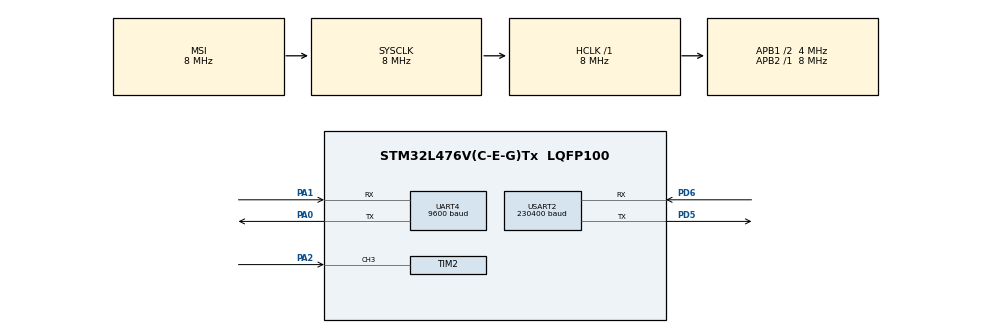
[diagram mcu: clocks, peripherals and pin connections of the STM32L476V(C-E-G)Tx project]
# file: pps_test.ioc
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Dma.Request0=UART4_RX
Dma.UART4_RX.0.Direction=DMA_PERIPH_TO_MEMORY
Dma.UART4_RX.0.Instance=DMA2_Channel5
Dma.UART4_RX.0.MemDataAlignment=DMA_MDATAALIGN_BYTE
Dma.UART4_RX.0.MemInc=DMA_MINC_ENABLE
Dma.UART4_RX.0.Mode=DMA_CIRCULAR
Dma.UART4_RX.0.PeriphDataAlignment=DMA_PDATAALIGN_BYTE
Dma.UART4_RX.0.PeriphInc=DMA_PINC_DISABLE
Dma.UART4_RX.0.Priority=DMA_PRIORITY_MEDIUM
Mcu.Family=STM32L4
Mcu.Name=STM32L476V(C-E-G)Tx
Mcu.Package=LQFP100
NVIC.DMA2_Channel5_IRQn=true\:0\:0\:false\:false\:true\:false\:true
NVIC.PriorityGroup=NVIC_PRIORITYGROUP_4
NVIC.TIM2_IRQn=true\:0\:0\:false\:false\:true\:true\:true
NVIC.UART4_IRQn=true\:0\:0\:false\:false\:true\:true\:true
PA0.Mode=Asynchronous
PA0.Signal=UART4_TX
PA1.Mode=Asynchronous
PA1.Signal=UART4_RX
PA2.Signal=S_TIM2_CH3
PD5.Mode=Asynchronous
PD5.Signal=USART2_TX
PD6.Mode=Asynchronous
PD6.Signal=USART2_RX
ProjectManager.HeapSize=0x200
ProjectManager.StackSize=0x400
ProjectManager.TargetToolchain=STM32CubeIDE
RCC.ADCFreq_Value=32000000
RCC.AHBFreq_Value=8000000
RCC.APB1CLKDivider=RCC_HCLK_DIV2
RCC.APB1Freq_Value=4000000
RCC.APB1TimFreq_Value=8000000
RCC.APB2Freq_Value=8000000
RCC.APB2TimFreq_Value=8000000
RCC.CortexFreq_Value=8000000
RCC.HCLKFreq_Value=8000000
RCC.HSE_VALUE=8000000
RCC.HSI_VALUE=16000000
RCC.LSE_VALUE=32768
RCC.MSIClockRange=RCC_MSIRANGE_7
RCC.MSI_VALUE=8000000
RCC.SYSCLKFreq_VALUE=8000000
RCC.USBFreq_Value=32000000
RCC.VCOOutputFreq_Value=64000000
SH.S_TIM2_CH3.0=TIM2_CH3,Input_Capture3_from_TI3
TIM2.Channel-Input_Capture3_from_TI3=TIM_CHANNEL_3
UART4.BaudRate=9600
USART2.BaudRate=230400
USART2.VirtualMode-Asynchronous=VM_ASYNC
board=custom

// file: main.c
/* USER CODE BEGIN Header */
/**
  ******************************************************************************
  * @file           : main.c
  * @brief          : Main program body
  ******************************************************************************
  * @attention
  *
  * <h2><center>&copy; Copyright (c) 2022 STMicroelectronics.
  * All rights reserved.</center></h2>
  *
  * This software component is licensed by ST under BSD 3-Clause license,
  * the "License"; You may not use this file except in compliance with the
  * License. You may obtain a copy of the License at:
  *                        opensource.org/licenses/BSD-3-Clause
  *
  ******************************************************************************
  */
/* USER CODE END Header */
#include "main.h"

/* USER CODE BEGIN Includes */
#include "string.h"
#include "stdlib.h"
#include "stdio.h"
/* USER CODE END Includes */

/* USER CODE BEGIN PTD */
int timI = 0;
int timeCounter = 0;

int nmea0183_checksum(char *msg) {

	int checksum = 0;
	int j = 0;

	// the first $ sign and the last two bytes of original CRC + the * sign
	for (j = 1; j < strlen(msg) - 4; j++) {
	checksum = checksum ^ (unsigned) msg[j];
	}

	return checksum;
}
/* USER CODE END PTD */

TIM_HandleTypeDef htim2;

UART_HandleTypeDef huart4;
UART_HandleTypeDef huart2;
DMA_HandleTypeDef hdma_uart4_rx;

void SystemClock_Config(void);
static void MX_GPIO_Init(void);
static void MX_DMA_Init(void);
static void MX_USART2_UART_Init(void);
static void MX_UART4_Init(void);
static void MX_TIM2_Init(void);

/* USER CODE BEGIN 0 */
uint32_t timerVal;
void HAL_TIM_IC_CaptureCallback(TIM_HandleTypeDef *htim) {
	timerVal = HAL_TIM_ReadCapturedValue(&htim2, TIM_CHANNEL_3);
	HAL_UART_Transmit(&huart2, (uint8_t*)&timerVal, 4, 70);
	__HAL_TIM_SET_COUNTER(htim,0);
}

/* USER CODE END 0 */

int main(void)
{

  /* MCU Configuration--------------------------------------------------------*/

  /* Reset of all peripherals, Initializes the Flash interface and the Systick. */
  HAL_Init();

  /* Configure the system clock */
  SystemClock_Config();

  /* Initialize all configured peripherals */
  MX_GPIO_Init();
  MX_DMA_Init();
  MX_USART2_UART_Init();
  MX_UART4_Init();
  MX_TIM2_Init();
  /* USER CODE BEGIN 2 */

  HAL_TIM_IC_Start_IT(&htim2, TIM_CHANNEL_3);

  uint8_t buff[255];
  	char buffStr[255];
  	char nmeaSnt[80];

  	char lat[12];
  	char lon[13];
  	char tim[6];
  	char mess[37];

  	HAL_UART_Receive_DMA(&huart4, buff, 255);

  /* USER CODE END 2 */

  /* Infinite loop */
  while (1)
  {

    /* USER CODE BEGIN 3 */

	  char *string;
		memset(buffStr, 0, 255);
		sprintf(buffStr, "%s", buff);
		string = strdup(buffStr);
		//data = strstr(string, "$GNGLL");
		//HAL_UART_Transmit(&huart2, (uint8_t*)data, 50, 70);

		char* token;
		while ((token = strsep(&string, "\n")) != NULL) {
			memset(nmeaSnt, 0, 80);
			sprintf(nmeaSnt, "%s\n\r", token);
			if ((strstr(nmeaSnt, "$GPGLL") != 0) && strlen(nmeaSnt) > 48 && strlen(nmeaSnt) < 60) {
				//Raw Data
				//HAL_UART_Transmit(&huart2, (uint8_t*)nmeaSnt, strlen(nmeaSnt), 70);
				for (int i = 0; i < 12; i++) {
					lat[i] = nmeaSnt[i+7];
					mess[i] = nmeaSnt[i+7];
				}
				for (int i = 0; i < 13; i++) {
					lon[i] = nmeaSnt[i+20];
					mess[i+14] = nmeaSnt[i+20];
				}
				for (int i = 0; i < 6; i++) {
					tim[i] = nmeaSnt[i+34];
					mess[i+29] = nmeaSnt[i+34];
				}
				if (time_set == 0) {
					sscanf(tim, "%d", &timI);
					set_time();
					time_set = 1;
				}
				mess[12] = '\n';
				mess[13] = '\r';
				mess[27] = '\n';
				mess[28] = '\r';
				mess[35] = '\n';
				mess[36] = '\r';
				HAL_UART_Transmit(&huart2, (uint8_t*)mess, 37, 70);
			}
		}
		HAL_Delay(200);
  }
  /* USER CODE END 3 */
}

void SystemClock_Config(void)
{
  RCC_OscInitTypeDef RCC_OscInitStruct = {0};
  RCC_ClkInitTypeDef RCC_ClkInitStruct = {0};
  RCC_PeriphCLKInitTypeDef PeriphClkInit = {0};

  /** Initializes the RCC Oscillators according to the specified parameters
  * in the RCC_OscInitTypeDef structure.
  */
  RCC_OscInitStruct.OscillatorType = RCC_OSCILLATORTYPE_MSI;
  RCC_OscInitStruct.MSIState = RCC_MSI_ON;
  RCC_OscInitStruct.MSICalibrationValue = 0;
  RCC_OscInitStruct.MSIClockRange = RCC_MSIRANGE_7;
  RCC_OscInitStruct.PLL.PLLState = RCC_PLL_NONE;
  if (HAL_RCC_OscConfig(&RCC_OscInitStruct) != HAL_OK)
  {
    Error_Handler();
  }
  /** Initializes the CPU, AHB and APB buses clocks
  */
  RCC_ClkInitStruct.ClockType = RCC_CLOCKTYPE_HCLK|RCC_CLOCKTYPE_SYSCLK
                              |RCC_CLOCKTYPE_PCLK1|RCC_CLOCKTYPE_PCLK2;
  RCC_ClkInitStruct.SYSCLKSource = RCC_SYSCLKSOURCE_MSI;
  RCC_ClkInitStruct.AHBCLKDivider = RCC_SYSCLK_DIV1;
  RCC_ClkInitStruct.APB1CLKDivider = RCC_HCLK_DIV2;
  RCC_ClkInitStruct.APB2CLKDivider = RCC_HCLK_DIV1;

  if (HAL_RCC_ClockConfig(&RCC_ClkInitStruct, FLASH_LATENCY_0) != HAL_OK)
  {
    Error_Handler();
  }
  PeriphClkInit.PeriphClockSelection = RCC_PERIPHCLK_USART2|RCC_PERIPHCLK_UART4;
  PeriphClkInit.Usart2ClockSelection = RCC_USART2CLKSOURCE_PCLK1;
  PeriphClkInit.Uart4ClockSelection = RCC_UART4CLKSOURCE_PCLK1;
  if (HAL_RCCEx_PeriphCLKConfig(&PeriphClkInit) != HAL_OK)
  {
    Error_Handler();
  }
  /** Configure the main internal regulator output voltage
  */
  if (HAL_PWREx_ControlVoltageScaling(PWR_REGULATOR_VOLTAGE_SCALE1) != HAL_OK)
  {
    Error_Handler();
  }
}

static void MX_TIM2_Init(void)
{

  TIM_MasterConfigTypeDef sMasterConfig = {0};
  TIM_IC_InitTypeDef sConfigIC = {0};

  htim2.Instance = TIM2;
  htim2.Init.Prescaler = 0;
  htim2.Init.CounterMode = TIM_COUNTERMODE_UP;
  htim2.Init.Period = 4294967295;
  htim2.Init.ClockDivision = TIM_CLOCKDIVISION_DIV1;
  htim2.Init.AutoReloadPreload = TIM_AUTORELOAD_PRELOAD_DISABLE;
  if (HAL_TIM_IC_Init(&htim2) != HAL_OK)
  {
    Error_Handler();
  }
  sMasterConfig.MasterOutputTrigger = TIM_TRGO_RESET;
  sMasterConfig.MasterSlaveMode = TIM_MASTERSLAVEMODE_DISABLE;
  if (HAL_TIMEx_MasterConfigSynchronization(&htim2, &sMasterConfig) != HAL_OK)
  {
    Error_Handler();
  }
  sConfigIC.ICPolarity = TIM_INPUTCHANNELPOLARITY_RISING;
  sConfigIC.ICSelection = TIM_ICSELECTION_DIRECTTI;
  sConfigIC.ICPrescaler = TIM_ICPSC_DIV1;
  sConfigIC.ICFilter = 0;
  if (HAL_TIM_IC_ConfigChannel(&htim2, &sConfigIC, TIM_CHANNEL_3) != HAL_OK)
  {
    Error_Handler();
  }

}

static void MX_UART4_Init(void)
{

  huart4.Instance = UART4;
  huart4.Init.BaudRate = 9600;
  huart4.Init.WordLength = UART_WORDLENGTH_8B;
  huart4.Init.StopBits = UART_STOPBITS_1;
  huart4.Init.Parity = UART_PARITY_NONE;
  huart4.Init.Mode = UART_MODE_TX_RX;
  huart4.Init.HwFlowCtl = UART_HWCONTROL_NONE;
  huart4.Init.OverSampling = UART_OVERSAMPLING_16;
  huart4.Init.OneBitSampling = UART_ONE_BIT_SAMPLE_DISABLE;
  huart4.AdvancedInit.AdvFeatureInit = UART_ADVFEATURE_NO_INIT;
  if (HAL_UART_Init(&huart4) != HAL_OK)
  {
    Error_Handler();
  }

}

static void MX_USART2_UART_Init(void)
{

  huart2.Instance = USART2;
  huart2.Init.BaudRate = 230400;
  huart2.Init.WordLength = UART_WORDLENGTH_8B;
  huart2.Init.StopBits = UART_STOPBITS_1;
  huart2.Init.Parity = UART_PARITY_NONE;
  huart2.Init.Mode = UART_MODE_TX_RX;
  huart2.Init.HwFlowCtl = UART_HWCONTROL_NONE;
  huart2.Init.OverSampling = UART_OVERSAMPLING_16;
  huart2.Init.OneBitSampling = UART_ONE_BIT_SAMPLE_DISABLE;
  huart2.AdvancedInit.AdvFeatureInit = UART_ADVFEATURE_NO_INIT;
  if (HAL_UART_Init(&huart2) != HAL_OK)
  {
    Error_Handler();
  }

}

static void MX_DMA_Init(void)
{

  /* DMA controller clock enable */
  __HAL_RCC_DMA2_CLK_ENABLE();

  /* DMA interrupt init */
  /* DMA2_Channel5_IRQn interrupt configuration */
  HAL_NVIC_SetPriority(DMA2_Channel5_IRQn, 0, 0);
  HAL_NVIC_EnableIRQ(DMA2_Channel5_IRQn);

}

static void MX_GPIO_Init(void)
{

  /* GPIO Ports Clock Enable */
  __HAL_RCC_GPIOA_CLK_ENABLE();
  __HAL_RCC_GPIOD_CLK_ENABLE();

}

void Error_Handler(void)
{
  __disable_irq();
  while (1)
  {
  }
}

/************************ (C) COPYRIGHT STMicroelectronics *****END OF FILE****/
